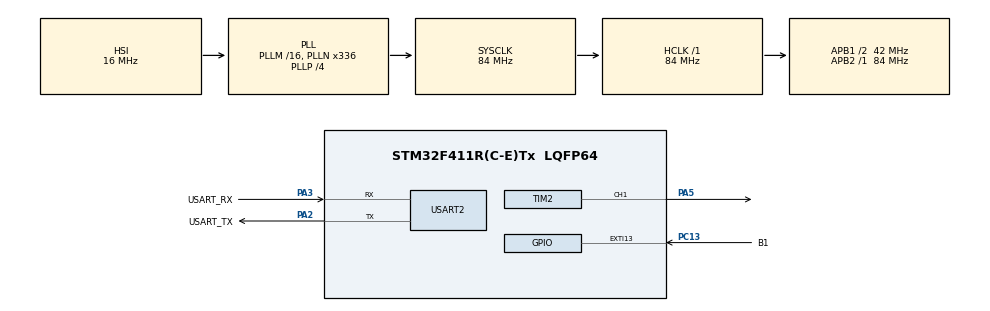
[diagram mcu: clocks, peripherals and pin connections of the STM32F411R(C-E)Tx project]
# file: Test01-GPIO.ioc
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Mcu.Family=STM32F4
Mcu.Name=STM32F411R(C-E)Tx
Mcu.Package=LQFP64
NVIC.EXTI15_10_IRQn=true\:0\:0\:false\:false\:true\:true\:true\:true
NVIC.PriorityGroup=NVIC_PRIORITYGROUP_0
NVIC.TIM3_IRQn=true\:0\:0\:false\:false\:true\:true\:true\:true
PA13.GPIO_Label=TMS
PA13.Mode=Serial_Wire
PA13.Signal=SYS_JTMS-SWDIO
PA14.GPIO_Label=TCK
PA14.Mode=Serial_Wire
PA14.Signal=SYS_JTCK-SWCLK
PA2.GPIO_Label=USART_TX
PA2.Mode=Asynchronous
PA2.Signal=USART2_TX
PA3.GPIO_Label=USART_RX
PA3.Mode=Asynchronous
PA3.Signal=USART2_RX
PA5.Signal=S_TIM2_CH1_ETR
PB3.GPIO_Label=SWO
PB3.Signal=SYS_JTDO-SWO
PC13-ANTI_TAMP.GPIO_Label=B1
PC13-ANTI_TAMP.GPIO_ModeDefaultEXTI=GPIO_MODE_IT_RISING_FALLING
PC13-ANTI_TAMP.Signal=GPXTI13
PC14-OSC32_IN.Mode=LSE-External-Oscillator
PC14-OSC32_IN.Signal=RCC_OSC32_IN
PC15-OSC32_OUT.Mode=LSE-External-Oscillator
PC15-OSC32_OUT.Signal=RCC_OSC32_OUT
PH0\ -\ OSC_IN.Mode=HSE-External-Clock-Source
PH0\ -\ OSC_IN.Signal=RCC_OSC_IN
PH1\ -\ OSC_OUT.Mode=HSE-External-Clock-Source
PH1\ -\ OSC_OUT.Signal=RCC_OSC_OUT
ProjectManager.HeapSize=0x200
ProjectManager.StackSize=0x400
ProjectManager.TargetToolchain=STM32CubeIDE
RCC.48MHZClocksFreq_Value=84000000
RCC.AHBFreq_Value=84000000
RCC.APB1CLKDivider=RCC_HCLK_DIV2
RCC.APB1Freq_Value=42000000
RCC.APB1TimFreq_Value=84000000
RCC.APB2Freq_Value=84000000
RCC.APB2TimFreq_Value=84000000
RCC.CortexFreq_Value=84000000
RCC.FLatency-AdvancedSettings=FLASH_LATENCY_2
RCC.HCLKFreq_Value=84000000
RCC.HSE_VALUE=8000000
RCC.HSI_VALUE=16000000
RCC.PLLN=336
RCC.PLLP=RCC_PLLP_DIV4
RCC.SYSCLKFreq_VALUE=84000000
RCC.SYSCLKSource=RCC_SYSCLKSOURCE_PLLCLK
RCC.VCOOutputFreq_Value=336000000
SH.S_TIM2_CH1_ETR.0=TIM2_CH1,PWM Generation1 CH1
TIM2.Channel-PWM\ Generation1\ CH1=TIM_CHANNEL_1
TIM2.Period=1000-1
TIM2.Prescaler=84-1
TIM3.Period=5000-1
TIM3.Prescaler=8400-1
TIM5.Prescaler=84-1
USART2.VirtualMode=VM_ASYNC
VP_TIM2_VS_ClockSourceINT.Mode=Internal
VP_TIM3_VS_ClockSourceINT.Mode=Internal
VP_TIM5_VS_ClockSourceINT.Mode=Internal
board=NUCLEO-F411RE

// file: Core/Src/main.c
/* USER CODE BEGIN Header */
/**
  ******************************************************************************
  * @file           : main.c
  * @brief          : Main program body
  ******************************************************************************
  * @attention
  *
  * Copyright (c) 2023 STMicroelectronics.
  * All rights reserved.
  *
  * This software is licensed under terms that can be found in the LICENSE file
  * in the root directory of this software component.
  * If no LICENSE file comes with this software, it is provided AS-IS.
  *
  ******************************************************************************
  */
/* USER CODE END Header */
#include "main.h"

/* USER CODE BEGIN Includes */
#include <stdio.h>
/* USER CODE END Includes */

TIM_HandleTypeDef htim2;
TIM_HandleTypeDef htim3;
TIM_HandleTypeDef htim5;

UART_HandleTypeDef huart2;

void SystemClock_Config(void);
static void MX_GPIO_Init(void);
static void MX_USART2_UART_Init(void);
static void MX_TIM3_Init(void);
static void MX_TIM5_Init(void);
static void MX_TIM2_Init(void);

/* USER CODE BEGIN 0 */
#define STEP 10
int val = 0;
int gap = 0; // steps up till AAR depends on val
int flag = 1;
void HAL_GPIO_EXTI_Callback(uint16_t GPIO_Pin)
{
	//val = HAL_GPIO_ReadPin(B1_GPIO_Port, B1_Pin);
	if(val++ > 10) val = 0;

	//if(val == 0) val = 1; else val= 0;
	//if (val++ > 4) val = 0; // 0 <= val <= 5
	//flag = 1;
}
int cnt = 0;
void HAL_TIM_PeriodElapsedCallback(TIM_HandleTypeDef *htim)
{
	//HAL_GPIO_TogglePin(LD2_GPIO_Port, LD2_Pin);
	printf("\033[10:30HTimer3...%d\n", cnt++);
}
void myDelay(int interval) // microsecond delay
{
	//volatile int start = htim5.Instance->CNT;
	htim5.Instance->CNT = 0;
	while(1)
	{
		volatile int cur = htim5.Instance->CNT;
		//if(cur-start>interval) return;
		if(htim5.Instance->CNT > interval) return;
	}
}
int __io_putchar(int ch)
{
	HAL_UART_Transmit(&huart2, &ch, 1, 10);
	return ch;
}
//int __io_getchar(void)
/* USER CODE END 0 */

int main(void)
{

  /* MCU Configuration--------------------------------------------------------*/

  /* Reset of all peripherals, Initializes the Flash interface and the Systick. */
  HAL_Init();

  /* Configure the system clock */
  SystemClock_Config();

  /* Initialize all configured peripherals */
  MX_GPIO_Init();
  MX_USART2_UART_Init();
  MX_TIM3_Init();
  MX_TIM5_Init();
  MX_TIM2_Init();
  /* USER CODE BEGIN 2 */

  printf("\033[0J program started.\r\n", 0x1b);

  //HAL_TIM_Base_Start_IT(&htim3);
  gap = htim2.Instance -> ARR/STEP;
  HAL_TIM_Base_Start(&htim5);
  HAL_TIM_PWM_Start(&htim2, TIM_CHANNEL_1);

  /* USER CODE END 2 */

  /* Infinite loop */
  /* USER CODE BEGIN WHILE */
  int ccr = 0;
  while (1)
  {
    /* USER CODE END WHILE */

    /* USER CODE BEGIN 3 */
	  //int r = HAL_GPIO_ReadPin(BLUE_GPIO_Port, BLUE_Pin);
	 //if (val == 1)
	  //{
		  //HAL_GPIO_WritePin(LD2_GPIO_Port, LD2_Pin, 1);  //LED ON
		  //HAL_Delay(200);  //1sec Delay
		  //HAL_GPIO_WritePin(LD2_GPIO_Port, LD2_Pin, 0);  //LED OFF
		  //HAL_Delay(200);  //1sec Delay

		  //flag = 0;
	  //}
	  //else
	  //{
		 // HAL_GPIO_WritePin(LD2_GPIO_Port, LD2_Pin, 0);
	  //}

	  //myDelay(200000);

	  htim2.Instance->CCR1 = val * gap;
	  // if(ccr > htim2.Instance->ARR) ccr=0;
	  myDelay(10000);

  }
  /* USER CODE END 3 */
}

void SystemClock_Config(void)
{
  RCC_OscInitTypeDef RCC_OscInitStruct = {0};
  RCC_ClkInitTypeDef RCC_ClkInitStruct = {0};

  /** Configure the main internal regulator output voltage
  */
  __HAL_RCC_PWR_CLK_ENABLE();
  __HAL_PWR_VOLTAGESCALING_CONFIG(PWR_REGULATOR_VOLTAGE_SCALE1);

  /** Initializes the RCC Oscillators according to the specified parameters
  * in the RCC_OscInitTypeDef structure.
  */
  RCC_OscInitStruct.OscillatorType = RCC_OSCILLATORTYPE_HSI;
  RCC_OscInitStruct.HSIState = RCC_HSI_ON;
  RCC_OscInitStruct.HSICalibrationValue = RCC_HSICALIBRATION_DEFAULT;
  RCC_OscInitStruct.PLL.PLLState = RCC_PLL_ON;
  RCC_OscInitStruct.PLL.PLLSource = RCC_PLLSOURCE_HSI;
  RCC_OscInitStruct.PLL.PLLM = 16;
  RCC_OscInitStruct.PLL.PLLN = 336;
  RCC_OscInitStruct.PLL.PLLP = RCC_PLLP_DIV4;
  RCC_OscInitStruct.PLL.PLLQ = 4;
  if (HAL_RCC_OscConfig(&RCC_OscInitStruct) != HAL_OK)
  {
    Error_Handler();
  }

  /** Initializes the CPU, AHB and APB buses clocks
  */
  RCC_ClkInitStruct.ClockType = RCC_CLOCKTYPE_HCLK|RCC_CLOCKTYPE_SYSCLK
                              |RCC_CLOCKTYPE_PCLK1|RCC_CLOCKTYPE_PCLK2;
  RCC_ClkInitStruct.SYSCLKSource = RCC_SYSCLKSOURCE_PLLCLK;
  RCC_ClkInitStruct.AHBCLKDivider = RCC_SYSCLK_DIV1;
  RCC_ClkInitStruct.APB1CLKDivider = RCC_HCLK_DIV2;
  RCC_ClkInitStruct.APB2CLKDivider = RCC_HCLK_DIV1;

  if (HAL_RCC_ClockConfig(&RCC_ClkInitStruct, FLASH_LATENCY_2) != HAL_OK)
  {
    Error_Handler();
  }
}

static void MX_TIM2_Init(void)
{

  TIM_ClockConfigTypeDef sClockSourceConfig = {0};
  TIM_MasterConfigTypeDef sMasterConfig = {0};
  TIM_OC_InitTypeDef sConfigOC = {0};

  htim2.Instance = TIM2;
  htim2.Init.Prescaler = 84-1;
  htim2.Init.CounterMode = TIM_COUNTERMODE_UP;
  htim2.Init.Period = 1000-1;
  htim2.Init.ClockDivision = TIM_CLOCKDIVISION_DIV1;
  htim2.Init.AutoReloadPreload = TIM_AUTORELOAD_PRELOAD_DISABLE;
  if (HAL_TIM_Base_Init(&htim2) != HAL_OK)
  {
    Error_Handler();
  }
  sClockSourceConfig.ClockSource = TIM_CLOCKSOURCE_INTERNAL;
  if (HAL_TIM_ConfigClockSource(&htim2, &sClockSourceConfig) != HAL_OK)
  {
    Error_Handler();
  }
  if (HAL_TIM_PWM_Init(&htim2) != HAL_OK)
  {
    Error_Handler();
  }
  sMasterConfig.MasterOutputTrigger = TIM_TRGO_RESET;
  sMasterConfig.MasterSlaveMode = TIM_MASTERSLAVEMODE_DISABLE;
  if (HAL_TIMEx_MasterConfigSynchronization(&htim2, &sMasterConfig) != HAL_OK)
  {
    Error_Handler();
  }
  sConfigOC.OCMode = TIM_OCMODE_PWM1;
  sConfigOC.Pulse = 0;
  sConfigOC.OCPolarity = TIM_OCPOLARITY_HIGH;
  sConfigOC.OCFastMode = TIM_OCFAST_DISABLE;
  if (HAL_TIM_PWM_ConfigChannel(&htim2, &sConfigOC, TIM_CHANNEL_1) != HAL_OK)
  {
    Error_Handler();
  }
  HAL_TIM_MspPostInit(&htim2);

}

static void MX_TIM3_Init(void)
{

  TIM_ClockConfigTypeDef sClockSourceConfig = {0};
  TIM_MasterConfigTypeDef sMasterConfig = {0};

  htim3.Instance = TIM3;
  htim3.Init.Prescaler = 8400-1;
  htim3.Init.CounterMode = TIM_COUNTERMODE_UP;
  htim3.Init.Period = 5000-1;
  htim3.Init.ClockDivision = TIM_CLOCKDIVISION_DIV1;
  htim3.Init.AutoReloadPreload = TIM_AUTORELOAD_PRELOAD_DISABLE;
  if (HAL_TIM_Base_Init(&htim3) != HAL_OK)
  {
    Error_Handler();
  }
  sClockSourceConfig.ClockSource = TIM_CLOCKSOURCE_INTERNAL;
  if (HAL_TIM_ConfigClockSource(&htim3, &sClockSourceConfig) != HAL_OK)
  {
    Error_Handler();
  }
  sMasterConfig.MasterOutputTrigger = TIM_TRGO_RESET;
  sMasterConfig.MasterSlaveMode = TIM_MASTERSLAVEMODE_DISABLE;
  if (HAL_TIMEx_MasterConfigSynchronization(&htim3, &sMasterConfig) != HAL_OK)
  {
    Error_Handler();
  }

}

static void MX_TIM5_Init(void)
{

  TIM_ClockConfigTypeDef sClockSourceConfig = {0};
  TIM_MasterConfigTypeDef sMasterConfig = {0};

  htim5.Instance = TIM5;
  htim5.Init.Prescaler = 84-1;
  htim5.Init.CounterMode = TIM_COUNTERMODE_UP;
  htim5.Init.Period = 4294967295;
  htim5.Init.ClockDivision = TIM_CLOCKDIVISION_DIV1;
  htim5.Init.AutoReloadPreload = TIM_AUTORELOAD_PRELOAD_DISABLE;
  if (HAL_TIM_Base_Init(&htim5) != HAL_OK)
  {
    Error_Handler();
  }
  sClockSourceConfig.ClockSource = TIM_CLOCKSOURCE_INTERNAL;
  if (HAL_TIM_ConfigClockSource(&htim5, &sClockSourceConfig) != HAL_OK)
  {
    Error_Handler();
  }
  sMasterConfig.MasterOutputTrigger = TIM_TRGO_RESET;
  sMasterConfig.MasterSlaveMode = TIM_MASTERSLAVEMODE_DISABLE;
  if (HAL_TIMEx_MasterConfigSynchronization(&htim5, &sMasterConfig) != HAL_OK)
  {
    Error_Handler();
  }

}

static void MX_USART2_UART_Init(void)
{

  huart2.Instance = USART2;
  huart2.Init.BaudRate = 115200;
  huart2.Init.WordLength = UART_WORDLENGTH_8B;
  huart2.Init.StopBits = UART_STOPBITS_1;
  huart2.Init.Parity = UART_PARITY_NONE;
  huart2.Init.Mode = UART_MODE_TX_RX;
  huart2.Init.HwFlowCtl = UART_HWCONTROL_NONE;
  huart2.Init.OverSampling = UART_OVERSAMPLING_16;
  if (HAL_UART_Init(&huart2) != HAL_OK)
  {
    Error_Handler();
  }

}

static void MX_GPIO_Init(void)
{
  GPIO_InitTypeDef GPIO_InitStruct = {0};

  /* GPIO Ports Clock Enable */
  __HAL_RCC_GPIOC_CLK_ENABLE();
  __HAL_RCC_GPIOH_CLK_ENABLE();
  __HAL_RCC_GPIOA_CLK_ENABLE();
  __HAL_RCC_GPIOB_CLK_ENABLE();

  /*Configure GPIO pin : B1_Pin */
  GPIO_InitStruct.Pin = B1_Pin;
  GPIO_InitStruct.Mode = GPIO_MODE_IT_RISING_FALLING;
  GPIO_InitStruct.Pull = GPIO_NOPULL;
  HAL_GPIO_Init(B1_GPIO_Port, &GPIO_InitStruct);

  /* EXTI interrupt init*/
  HAL_NVIC_SetPriority(EXTI15_10_IRQn, 0, 0);
  HAL_NVIC_EnableIRQ(EXTI15_10_IRQn);

}

void Error_Handler(void)
{
  __disable_irq();
  while (1)
  {
  }
}
